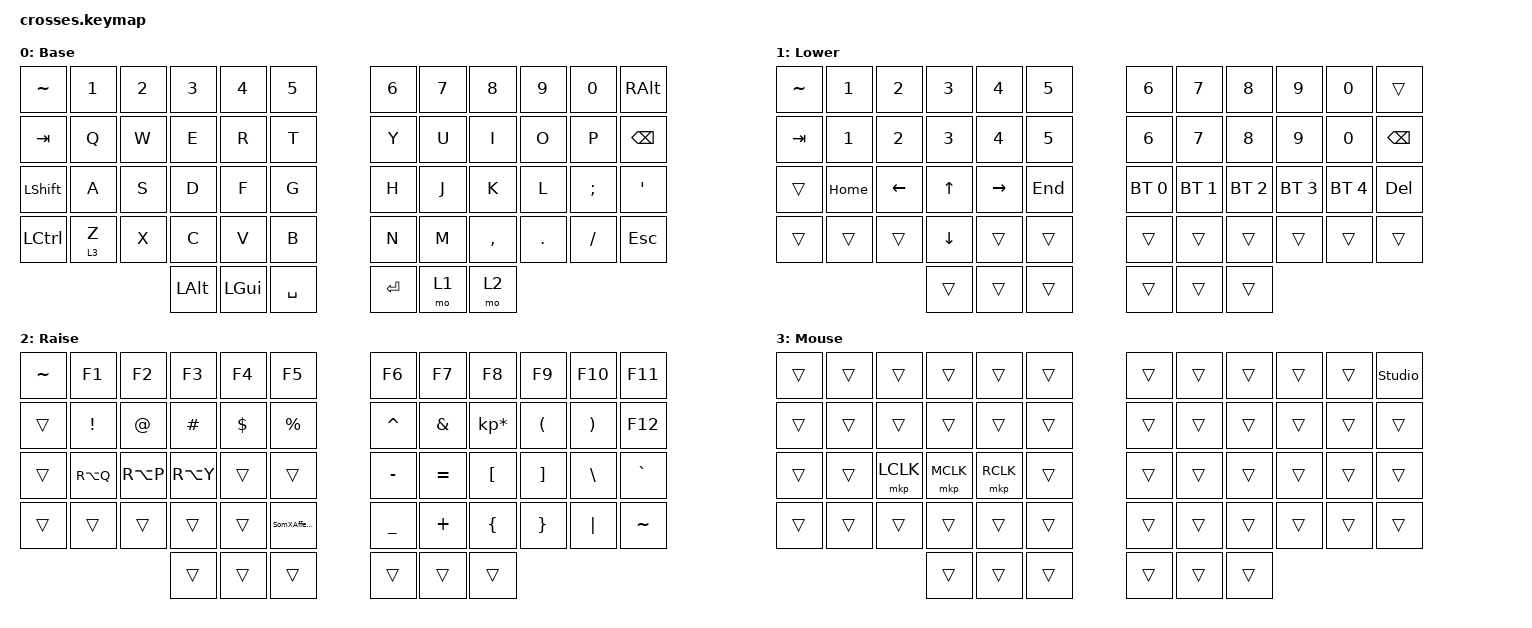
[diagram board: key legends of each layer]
#include <behaviors.dtsi>
#include <dt-bindings/zmk/bt.h>
#include <dt-bindings/zmk/keys.h>
#include <dt-bindings/zmk/pointing.h>

/ {
    chosen {
        zmk,physical-layout = &gggw_crosses_54_layout;
        zmk,battery = &vbatt;
    };

    vbatt: vbatt {
        compatible = "zmk,battery-nrf-vddh";
        label = "BATTERY";
    };

    macros {
        SomXAffengriff: SomXAffengriff {
            compatible = "zmk,behavior-macro";
            #binding-cells = <0>;
            bindings
                = <&macro_press &kp TAB &kp DELETE &kp KP_PLUS>
                , <&macro_release &kp TAB &kp DELETE &kp KP_PLUS>
                ;
            label = "SOMXAFFENGRIFF";
        };
    };

    keymap {
        compatible = "zmk,keymap";

        default_layer {
            display-name = "Base";
            bindings = <
&kp TILDE         &kp N1   &kp N2  &kp N3        &kp N4        &kp N5     &kp N6   &kp N7  &kp N8     &kp N9   &kp N0    &kp RIGHT_ALT
&kp TAB           &kp Q    &kp W   &kp E         &kp R         &kp T      &kp Y    &kp U   &kp I      &kp O    &kp P     &kp BSPC
&kp LEFT_SHIFT    &kp A    &kp S   &kp D         &kp F         &kp G      &kp H    &kp J   &kp K      &kp L    &kp SEMI  &kp SQT
&kp LEFT_CONTROL  &lt 3 Z  &kp X   &kp C         &kp V         &kp B      &kp N    &kp M   &kp COMMA  &kp DOT  &kp FSLH  &kp ESC
                                   &kp LEFT_ALT  &kp LEFT_GUI  &kp SPACE  &kp RET  &mo 1   &mo 2
            >;
        };

        lower_layer {
            display-name = "Lower";
            bindings = <
&kp TILDE  &kp N1    &kp N2          &kp N3          &kp N4           &kp N5   &kp N6        &kp N7        &kp N8        &kp N9        &kp N0        &trans
&kp TAB    &kp N1    &kp N2          &kp N3          &kp N4           &kp N5   &kp N6        &kp N7        &kp N8        &kp N9        &kp N0        &kp BSPC
&trans     &kp HOME  &kp LEFT_ARROW  &kp UP_ARROW    &kp RIGHT_ARROW  &kp END  &bt BT_SEL 0  &bt BT_SEL 1  &bt BT_SEL 2  &bt BT_SEL 3  &bt BT_SEL 4  &kp DELETE
&trans     &trans    &trans          &kp DOWN_ARROW  &trans           &trans   &trans        &trans        &trans        &trans        &trans        &trans
                                     &trans          &trans           &trans   &trans        &trans        &trans
            >;
        };

        raise_layer {
            display-name = "Raise";
            bindings = <
&kp TILDE  &kp F1     &kp F2     &kp F3     &kp F4    &kp F5           &kp F6     &kp F7     &kp F8           &kp F9    &kp F10   &kp F11
&trans     &kp EXCL   &kp AT     &kp HASH   &kp DLLR  &kp PRCNT        &kp CARET  &kp AMPS   &kp KP_MULTIPLY  &kp LPAR  &kp RPAR  &kp F12
&trans     &kp RA(Q)  &kp RA(P)  &kp RA(Y)  &trans    &trans           &kp MINUS  &kp EQUAL  &kp LBKT         &kp RBKT  &kp BSLH  &kp GRAVE
&trans     &trans     &trans     &trans     &trans    &SomXAffengriff  &kp UNDER  &kp PLUS   &kp LBRC         &kp RBRC  &kp PIPE  &kp TILDE
                                 &trans     &trans    &trans           &trans     &trans     &trans
            >;
        };

        mouse_layer {
            display-name = "Mouse";
            bindings = <
&trans  &trans  &trans     &trans     &trans     &trans  &trans  &trans  &trans  &trans  &trans  &studio_unlock
&trans  &trans  &trans     &trans     &trans     &trans  &trans  &trans  &trans  &trans  &trans  &trans
&trans  &trans  &mkp LCLK  &mkp MCLK  &mkp RCLK  &trans  &trans  &trans  &trans  &trans  &trans  &trans
&trans  &trans  &trans     &trans     &trans     &trans  &trans  &trans  &trans  &trans  &trans  &trans
                           &trans     &trans     &trans  &trans  &trans  &trans
            >;
        };
    };
};
